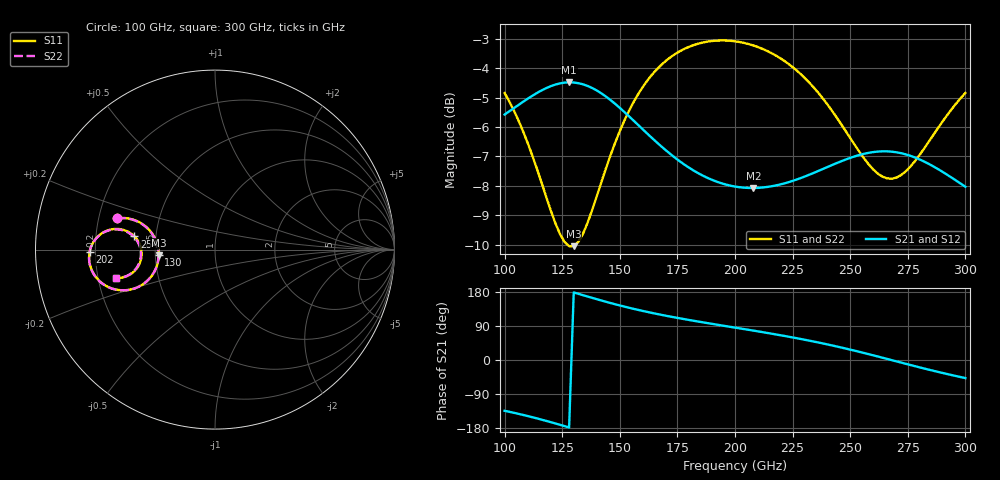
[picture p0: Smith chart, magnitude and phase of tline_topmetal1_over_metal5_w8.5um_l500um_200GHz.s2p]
#  GHZ S DB R 50
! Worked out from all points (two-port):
!   101 points, 100 GHz to 300 GHz, reference 50 ohm
!   highest |S21| = -4.48 dB at 128 GHz (marker M1); lowest = -8.1 dB at 208 GHz (marker M2)
!   |S21| within 3 dB of the highest: start of sweep to 182.1 GHz; 236.6 GHz to 289.2 GHz (52.58 GHz wide, 20 % of centre)
!   lowest |S11| = -10.1 dB at 130 GHz (marker M3), VSWR 1.92, Z = 26.1 - j1.69 ohm
!   |S11| at or under -10 dB: 127.3 GHz to 130.7 GHz (3.48 GHz wide, 2.7 % of centre)
!   |S22| runs from -10.0 to -3.0 dB; largest |S21 - S12| = 6.1e-14
!   S11 on the Smith chart (normalised r, x): 100 GHz: 0.28, +0.14; 130 GHz: 0.52, -0.03; 202 GHz: 0.18, -0.01; 254 GHz: 0.38, +0.07; 300 GHz: 0.28, -0.13
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100  -4.84 162.2  -5.58 -134.0  -5.58 -134.0  -4.84 162.3
108  -6.14 159.9  -5.15 -144.9  -5.15 -144.9  -6.14 160.1
114  -7.42 160.7  -4.85 -154.1  -4.85 -154.1  -7.40 160.9
122  -9.27 168.4  -4.56 -167.4  -4.56 -167.4  -9.24 168.6
128  -10.05 -179.4  -4.48 -178.1  -4.48 -178.1  -10.02 -179.2
130  -10.05 -174.7  -4.49 178.3  -4.49 178.3  -10.02 -174.6
134  -9.63 -166.0  -4.55 171.1  -4.55 171.1  -9.60 -165.9
142  -7.88 -155.8  -4.86 157.0  -4.86 157.0  -7.86 -155.8
150  -6.14 -154.2  -5.35 143.9  -5.35 143.9  -6.13 -154.1
158  -4.88 -156.6  -5.94 132.2  -5.94 132.2  -4.87 -156.5
168  -3.89 -161.5  -6.66 119.2  -6.66 119.2  -3.88 -161.5
184  -3.17 -170.0  -7.57 101.5  -7.57 101.5  -3.16 -169.9
200  -3.09 -177.9  -8.03 85.5  -8.03 85.5  -3.08 -177.7
202  -3.11 -178.9  -8.05 83.5  -8.05 83.5  -3.10 -178.7
208  -3.23 178.4  -8.08 77.5  -8.08 77.5  -3.22 178.6
220  -3.68 173.4  -7.95 65.0  -7.95 65.0  -3.66 173.6
234  -4.64 168.9  -7.57 48.9  -7.57 48.9  -4.62 169.2
244  -5.66 167.9  -7.23 35.9  -7.23 35.9  -5.62 168.2
254  -6.85 170.7  -6.95 21.5  -6.95 21.5  -6.79 171.1
268  -7.76 -177.0  -6.84 -0.3  -6.84 -0.3  -7.67 -176.8
284  -6.51 -164.5  -7.25 -25.3  -7.25 -25.3  -6.45 -164.7
300  -4.84 -164.0  -8.03 -47.7  -8.03 -47.7  -4.80 -164.1
